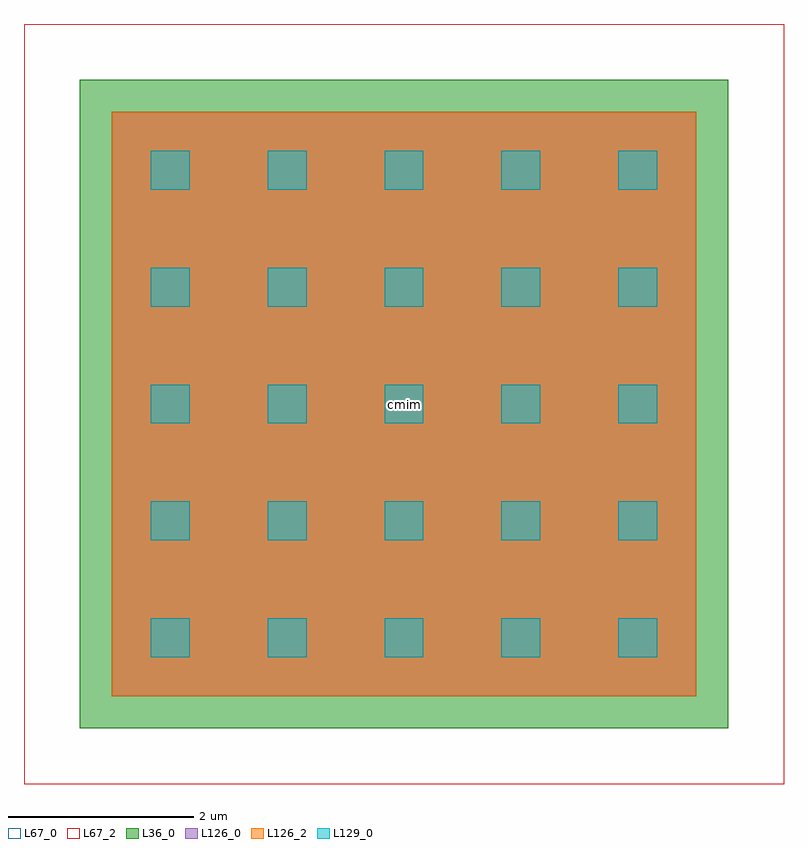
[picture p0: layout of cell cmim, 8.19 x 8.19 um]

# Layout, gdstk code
import gdstk
lib = gdstk.Library(unit=1e-6, precision=1e-09)
def R(c, l, rs):  # rectangles x0, y0, x1, y1
    for r in rs: c.add(gdstk.rectangle(r[:2], r[2:], *l))
def A(c, l, x, y, w, h, nx, ny, dx, dy):  # array of equal rectangles
    R(c, l, [(x+i*dx, y+j*dy, x+i*dx+w, y+j*dy+h) for i in range(nx) for j in range(ny)])
L36_0 = (36, 0)
L67_0 = (67, 0)
L67_2 = (67, 2)
L126_0 = (126, 0)
L126_2 = (126, 2)
L129_0 = (129, 0)

cmim = lib.new_cell('cmim')
R(cmim, L36_0, [(0,0,6.99,6.99)])
R(cmim, L67_0, [(-0.6,-0.6,7.59,7.59)])
R(cmim, L67_2, [(-0.6,-0.6,7.59,7.59)])
R(cmim, L126_0, [(0.345,0.345,6.645,6.645)])
R(cmim, L126_2, [(0.345,0.345,6.645,6.645)])
A(cmim, L129_0, 0.765, 0.765, 0.42, 0.42, 5, 5, 1.26, 1.26)
cmim.add(gdstk.Label('cmim', (3.495,3.495), layer=63, texttype=0))
cmim.add(gdstk.Label('c=74.620f', (3.495,3.495), layer=63, texttype=0))

lib.write_gds('cmim.gds')
